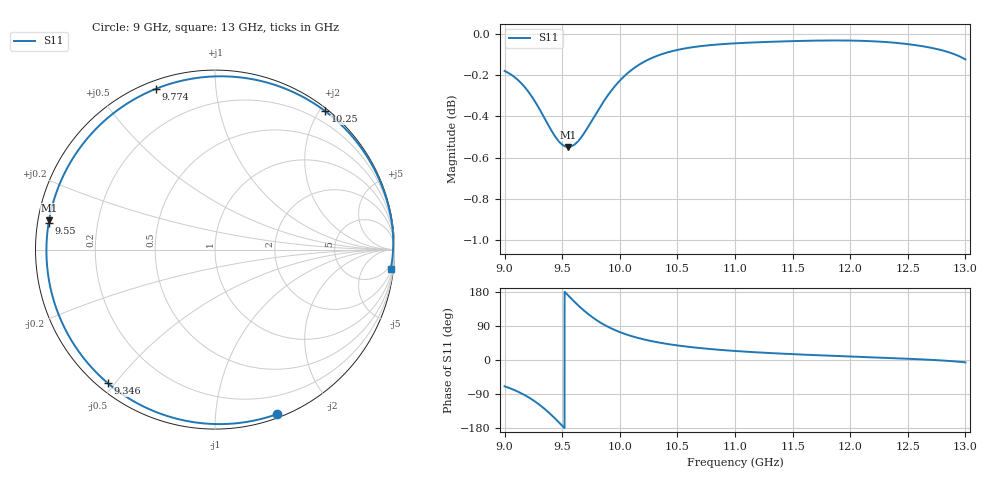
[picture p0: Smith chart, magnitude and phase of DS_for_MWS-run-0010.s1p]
! TOUCHSTONE file generated by CST DESIGN STUDIO
! Date and time: Tue Feb  4 13:51:30 2025
! Project name: C:\Work\MatlabApps\UnitCellOptimizationMatlab\CST\unitcell.cst
! Tree item: Tasks\Sweep1\SPara1\S-Parameters
! Header version: 2024
! Port assignment regex: !\s*Touchstone port\s*([0-9]+)\s*=\s*(CST MWS port|CST DES external port|CST DES block port)\s*(.+)\s* \(\"(.*)\"\)(\s*mode\s*([0-9]+))?.*
! Touchstone port assignment:
! Touchstone port 1 = CST DES external port 1 ("")
# GHz S MA R 50
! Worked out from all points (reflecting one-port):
!   4001 points, 9 GHz to 13 GHz, reference 50 ohm
!   lowest |S11| = -0.5 dB at 9.553 GHz (marker M1), VSWR 31.67, Z = 1.59 + j4.39 ohm
!   phase of S11 starts at -69 deg and turns -297 deg over the sweep
!   S11 on the Smith chart (normalised r, x): 9 GHz: 0.03, -1.44; 9.346 GHz: 0.03, -0.48; 9.55 GHz: 0.03, +0.08; 9.774 GHz: 0.03, +0.70; 10.25 GHz: 0.04, +2.08; 13 GHz: 2, -18
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9  0.9796 -69.4
9.098  0.9756 -81.1
9.205  0.9684 -98.0
9.279  0.9614 -112.8
9.346  0.9541 -128.7
9.388  0.9494 -139.9
9.431  0.945 -152.3
9.466  0.9421 -162.9
9.5  0.94 -173.4
9.55  0.9388 170.9
9.553  0.9388 170.0
9.605  0.94 154.0
9.666  0.9439 136.6
9.719  0.9488 122.8
9.774  0.9544 110.2
9.821  0.9592 100.7
9.872  0.9641 91.7
10  0.9743 73.7
10.117  0.9808 61.7
10.251  0.9859 51.4
10.5  0.9912 38.4
10.721  0.9934 30.7
11  0.9948 23.8
11.5  0.9961 15.4
12  0.9964 9.3
12.5  0.9944 3.3
12.786  0.9912 -1.1
13  0.9859 -6.2
